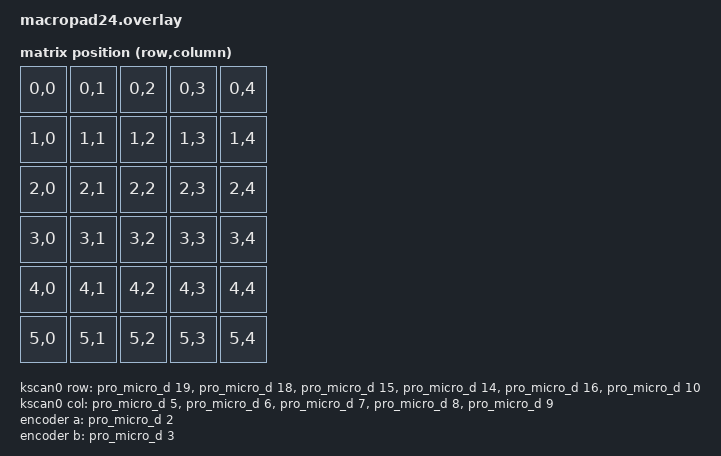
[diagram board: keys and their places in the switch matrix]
#include <dt-bindings/zmk/matrix_transform.h>

/ {
    chosen {
        zmk,kscan = &kscan0;
        zmk,matrix_transform = &default_transform;
    };

    default_transform: keymap_transform_0 {
        compatible = "zmk,matrix-transform";
        columns = <5>;
        rows = <6>;

        map = <
			RC(0,0)	RC(0,1) RC(0,2) RC(0,3)	RC(0,4)
            RC(1,0) RC(1,1) RC(1,2) RC(1,3) RC(1,4)
            RC(2,0) RC(2,1) RC(2,2) RC(2,3)	RC(2,4)
            RC(3,0) RC(3,1) RC(3,2) RC(3,3) RC(3,4)
            RC(4,0) RC(4,1) RC(4,2) RC(4,3) RC(4,4)
            RC(5,0)	RC(5,1)	RC(5,2) RC(5,3) RC(5,4)
        >;
    };

    kscan0: kscan {
        compatible = "zmk,kscan-gpio-matrix";
        label = "KSCAN";
        diode-direction = "col2row";

        row-gpios
            = <&pro_micro_d 19 (GPIO_ACTIVE_HIGH | GPIO_PULL_DOWN)>  // Pin P0.02 / D19
            , <&pro_micro_d 18 (GPIO_ACTIVE_HIGH | GPIO_PULL_DOWN)> // Pin P1.15 / D18
            , <&pro_micro_d 15 (GPIO_ACTIVE_HIGH | GPIO_PULL_DOWN)> // Pin P1.13 / D15
            , <&pro_micro_d 14 (GPIO_ACTIVE_HIGH | GPIO_PULL_DOWN)> // Pin P1.11 / D14
            , <&pro_micro_d 16 (GPIO_ACTIVE_HIGH | GPIO_PULL_DOWN)> // Pin P0.10 / D16
            , <&pro_micro_d 10 (GPIO_ACTIVE_HIGH | GPIO_PULL_DOWN)>  // Pin P0.09 / D10
            ;

        col-gpios
            = <&pro_micro_d 5 GPIO_ACTIVE_HIGH> // Pin P0.24 / D5
            , <&pro_micro_d 6 GPIO_ACTIVE_HIGH> // Pin P1.00 / D6
            , <&pro_micro_d 7 GPIO_ACTIVE_HIGH> // Pin P0.11 / D7
            , <&pro_micro_d 8 GPIO_ACTIVE_HIGH> // Pin P1.04 / D8
            , <&pro_micro_d 9 GPIO_ACTIVE_HIGH> // Pin P1.06 / D9
            ;
    };

    encoder: encoder {
        compatible = "alps,ec11";
        label = "ENCODER";
        a-gpios = <&pro_micro_d 2 (GPIO_ACTIVE_LOW)>; // Pin 0.17 / D2
        b-gpios = <&pro_micro_d 3 (GPIO_ACTIVE_LOW)>; // Pin 0.20 / D3
        resolution = <4>;
    };

    sensors {
        compatible = "zmk,keymap-sensors";
        sensors = <&encoder>;
        //triggers-per-rotation = <5>;
    };
};
